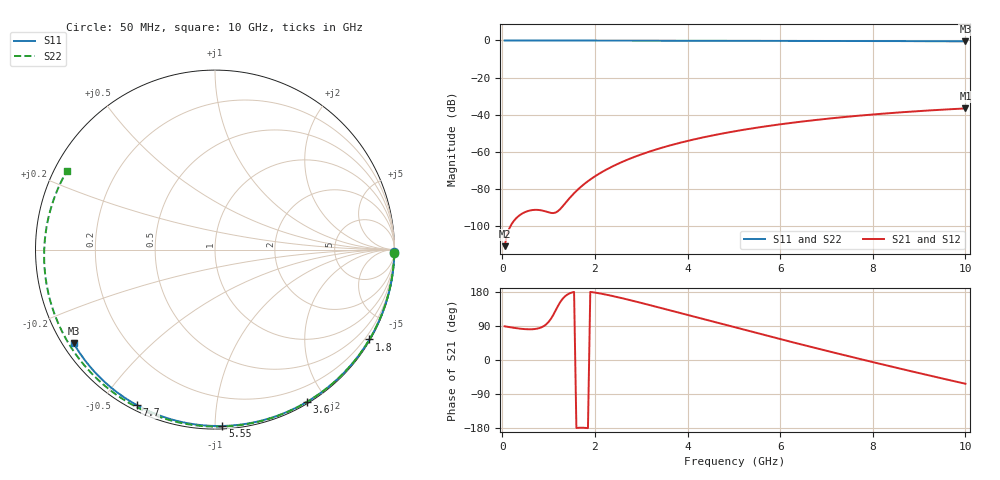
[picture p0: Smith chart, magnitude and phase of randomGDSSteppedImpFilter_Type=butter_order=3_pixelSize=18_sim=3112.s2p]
! freq	dB(S11)	phase(S11)	dB(S12)	phase(S12)
!  dB(S21)	phase(S21)	dB(S22)	phase(S22)
!S-par simulation data
#  GHz  S  DB  R 50
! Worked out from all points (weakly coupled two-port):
!   200 points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, 50 MHz to 10 GHz, reference 50 ohm
!   highest |S21| = -36.56 dB at 10 GHz (marker M1); lowest = -110.6 dB at 50 MHz (marker M2)
!   lowest |S11| = -0.5 dB at 10 GHz (marker M3), VSWR 35.07, Z = 1.55 - j15 ohm
!   |S11| at or under -10 dB: nowhere
!   |S22| runs from -0.6 to 0.0 dB; largest |S21 - S12| = 0
!   S11 on the Smith chart (normalised r, x): 50 MHz: open; 1.8 GHz: 0.03, -3.71; 3.6 GHz: 0.02, -1.77; 5.55 GHz: 0.02, -1.04; 7.7 GHz: 0.02, -0.62; 10 GHz: 0.03, -0.30
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0.05  -0.00 -0.8  -110.61 88.9  -110.61 88.9  -0.00 -1.2
0.45  -0.01 -7.6  -92.79 81.8  -92.79 81.8  -0.02 -11.3
0.8  -0.02 -13.5  -91.19 84.2  -91.19 84.2  -0.03 -20.0
1.2  -0.03 -20.2  -91.81 142.1  -91.81 142.1  -0.04 -29.9
1.6  -0.03 -26.9  -80.91 -179.4  -80.91 -179.4  -0.05 -39.5
1.65  -0.04 -27.7  -79.74 -178.9  -79.74 -178.9  -0.05 -40.7
1.75  -0.04 -29.4  -77.59 -178.8  -77.59 -178.8  -0.05 -43.1
1.8  -0.04 -30.2  -76.60 -179.2  -76.60 -179.2  -0.06 -44.3
2.1  -0.04 -35.1  -71.51 175.9  -71.51 175.9  -0.06 -51.4
2.5  -0.05 -41.5  -66.30 165.6  -66.30 165.6  -0.08 -60.6
2.9  -0.06 -47.9  -62.17 153.7  -62.17 153.7  -0.09 -69.6
3.4  -0.07 -55.7  -58.02 138.1  -58.02 138.1  -0.10 -80.5
3.6  -0.08 -58.8  -56.59 131.7  -56.59 131.7  -0.11 -84.8
4.3  -0.10 -69.4  -52.32 109.2  -52.32 109.2  -0.14 -99.3
5.05  -0.12 -80.5  -48.70 85.2  -48.70 85.2  -0.17 -114.3
5.55  -0.14 -87.6  -46.69 69.3  -46.69 69.3  -0.20 -123.9
6.15  -0.17 -96.0  -44.60 50.5  -44.60 50.5  -0.23 -135.2
6.7  -0.20 -103.5  -42.95 33.5  -42.95 33.5  -0.27 -145.4
7.7  -0.27 -116.8  -40.45 3.3  -40.45 3.3  -0.35 -163.8
8.35  -0.32 -125.2  -39.11 -15.8  -39.11 -15.8  -0.41 -175.9
9.2  -0.40 -136.2  -37.66 -40.3  -37.66 -40.3  -0.50 167.9
10  -0.50 -146.5  -36.56 -62.7  -36.56 -62.7  -0.59 151.9
